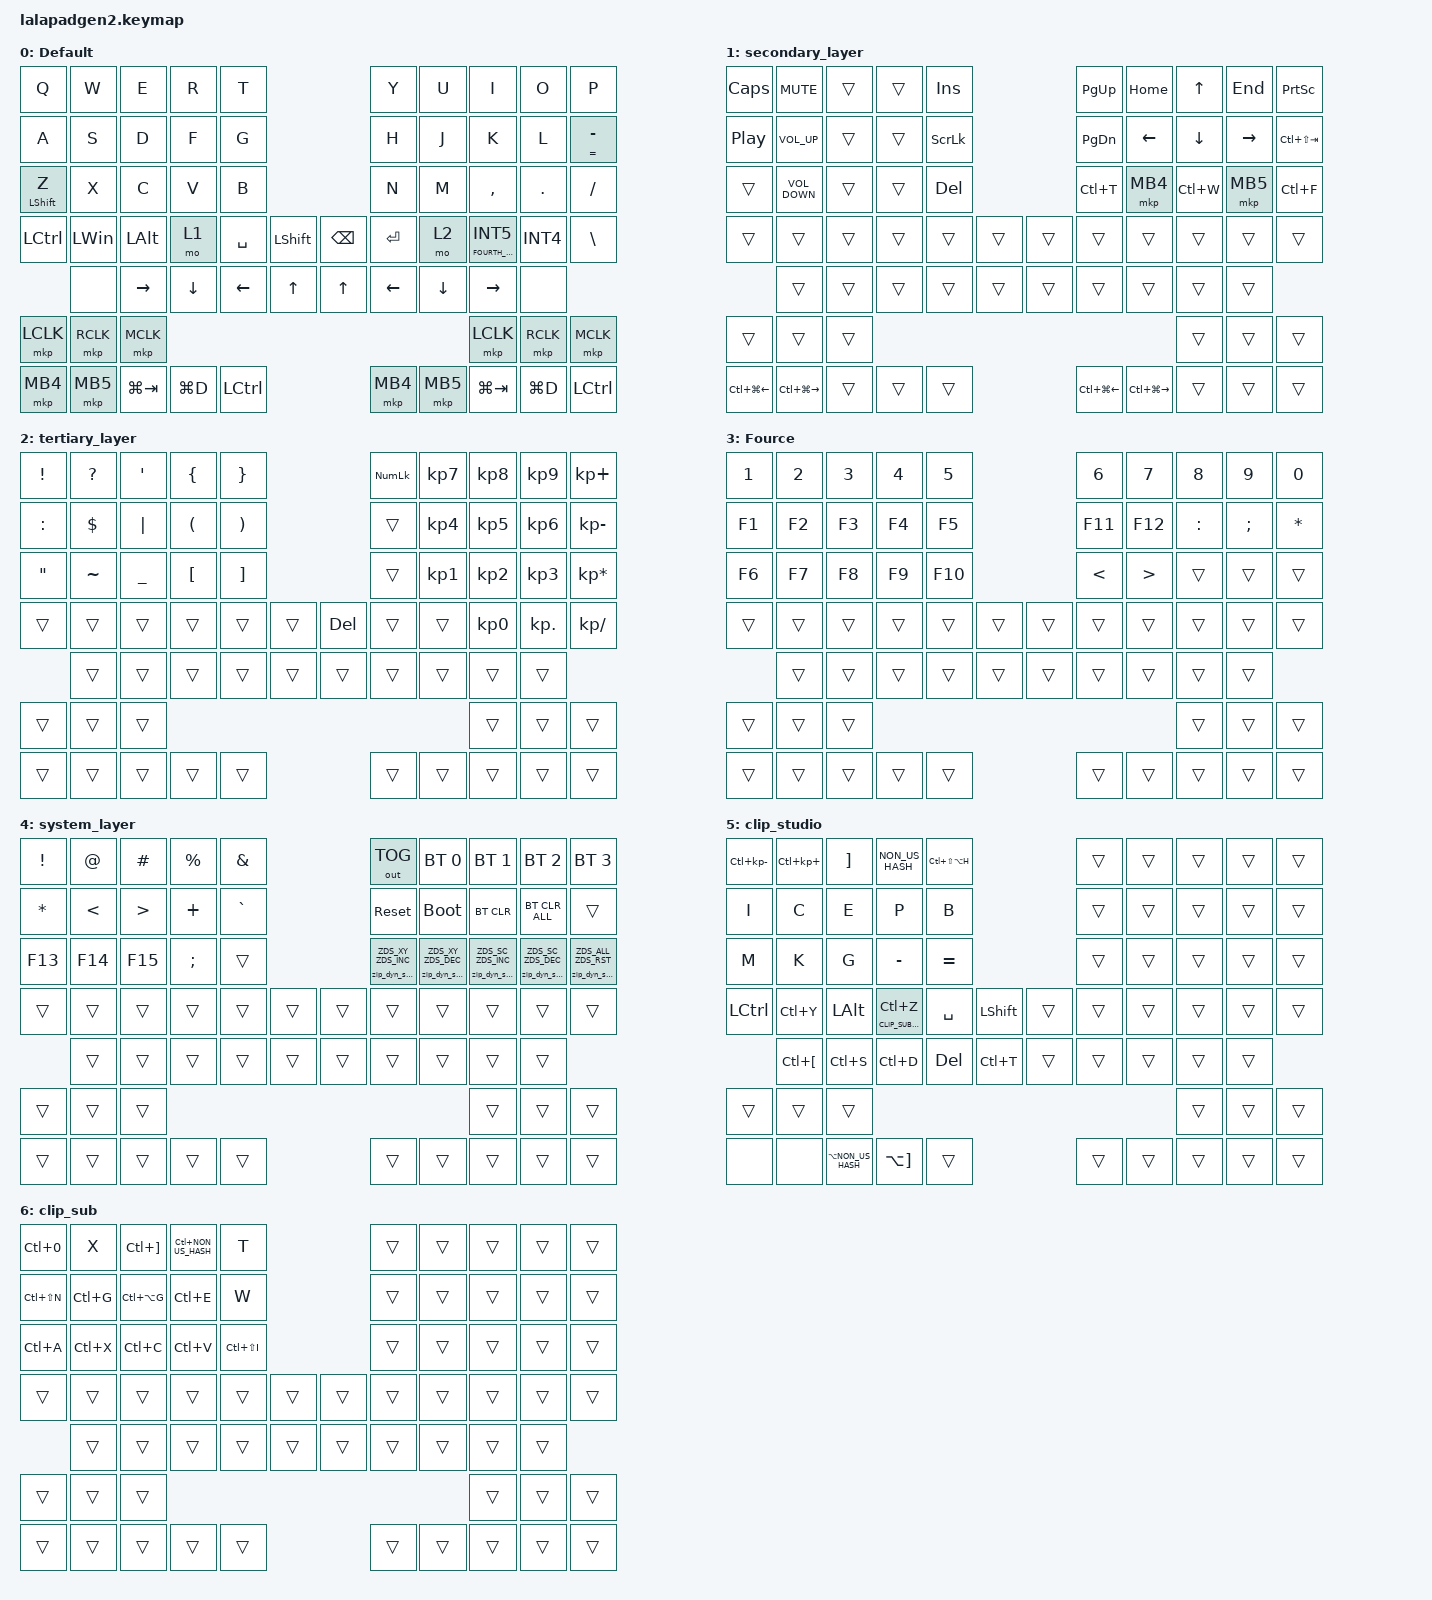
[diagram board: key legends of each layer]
#include <input/processors.dtsi>
#include <dt-bindings/zmk/zip_dynamic_scale.h>
#include <behaviors.dtsi>
#include <dt-bindings/zmk/bt.h>
#include <dt-bindings/zmk/keys.h>
#include <dt-bindings/zmk/outputs.h>
#include <dt-bindings/zmk/pointing.h>

#define DEFAULT_LAYER   0
#define SECONDARY_LAYER 1
#define TERTIARY_LAYER  2
#define FOURTH_LAYER    3
#define SYSTEM_LAYER    4
#define CLIP_LAYER      5
#define CLIP_SUB_LAYER  6

&mt { quick-tap-ms = <200>; };

&lt { quick-tap-ms = <200>; };

/ {
    behaviors {
        zip_dyn_scale: zip_dyn_scale {
            compatible = "zmk,behavior-zip-dynamic-scale";
            #binding-cells = <2>;
        };

        zip_dyn_scale_set: zip_dyn_scale_set {
            compatible = "zmk,behavior-zip-dynamic-scale-set";
            #binding-cells = <2>;
        };

        mt2: mod_tap2 {
            compatible = "zmk,behavior-hold-tap";
            #binding-cells = <2>;
            flavor = "tap-preferred";
            tapping-term-ms = <200>;
            quick-tap-ms = <200>;
            require-prior-idle-ms = <125>;
            bindings = <&kp>, <&kp>;
        };

        /* クリスタモード切替: IMEオフ(INT5=無変換)を送ってからレイヤーをトグル。
           IMEオンのままだとクリスタの1文字ショートカット(P/E/[ など)が反応しないため */
        csp_toggle: csp_toggle {
            compatible = "zmk,behavior-macro";
            #binding-cells = <0>;
            wait-ms = <10>;
            tap-ms = <20>;
            bindings = <&macro_tap &kp INT5 &tog CLIP_LAYER>;
        };

        /* クリスタモードのサブレイヤー: 押し続けるとCLIP_SUB、タップで取り消し(Ctrl+Z)。
           親指を押したまま素早く次のキーを押しても切り替わるよう balanced にしている */
        csp_lt: csp_layer_tap {
            compatible = "zmk,behavior-hold-tap";
            #binding-cells = <2>;
            flavor = "balanced";
            tapping-term-ms = <200>;
            quick-tap-ms = <200>;
            bindings = <&mo>, <&kp>;
        };

        tap_dance_layer_1and2: tap_dance_layer_1and2 {
            compatible = "zmk,behavior-tap-dance";
            label = "td_mo12";
            #binding-cells = <0>;
            bindings = <&mo 1>, <&mo 2>;
        };
    };

    combos {
        compatible = "zmk,combos";

        CONBO_ESC {
            bindings = <&kp ESCAPE>;
            key-positions = <0 1>;
            layers = <DEFAULT_LAYER SECONDARY_LAYER TERTIARY_LAYER FOURTH_LAYER SYSTEM_LAYER>; /* クリスタモードでは無効 */
        };

        COMBO_TAB {
            bindings = <&kp TAB>;
            key-positions = <10 11>;
            layers = <DEFAULT_LAYER SECONDARY_LAYER TERTIARY_LAYER FOURTH_LAYER SYSTEM_LAYER>; /* クリスタモードでは無効 */
        };

        hankakku_zenkaku {
            bindings = <&kp LANG_ZENKAKUHANKAKU>;
            key-positions = <1 2>;
            layers = <DEFAULT_LAYER SECONDARY_LAYER TERTIARY_LAYER FOURTH_LAYER SYSTEM_LAYER>; /* クリスタモードでは無効 */
        };

        /* 左親指 Win+Alt 同時押し: クリスタモード(CLIP_LAYER)のON/OFF（同時にIMEオフ） */
        csp_mode_toggle {
            bindings = <&csp_toggle>;
            key-positions = <31 32>;
            layers = <DEFAULT_LAYER CLIP_LAYER>;
            timeout-ms = <50>;
        };
    };

    keymap {
        compatible = "zmk,keymap";

        DEFAULT_LAYER {
            display-name = "Default";
            bindings = <
&kp Q              &kp W      &kp E         &kp R      &kp T                                     &kp Y      &kp U     &kp I        &kp O       &kp P
&kp A              &kp S      &kp D         &kp F      &kp G                                     &kp H      &kp J     &kp K        &kp L       &mt2 EQUAL MINUS
&mt2 LEFT_SHIFT Z  &kp X      &kp C         &kp V      &kp B                                     &kp N      &kp M     &kp COMMA    &kp PERIOD  &kp SLASH
&kp LCTRL          &kp LWIN   &kp LEFT_ALT  &mo 1      &kp SPACE  &kp LEFT_SHIFT  &kp BACKSPACE  &kp ENTER  &mo 2     &lt FOURTH_LAYER INT5   &kp INT4    &kp BACKSLASH
                   &none      &kp RIGHT     &kp DOWN   &kp LEFT   &kp UP          &kp UP         &kp LEFT   &kp DOWN  &kp RIGHT    &none
&mkp LCLK          &mkp RCLK  &mkp MCLK                                                                               &mkp LCLK    &mkp RCLK   &mkp MCLK
&mkp MB4           &mkp MB5   &kp LG(TAB)   &kp LG(D)  &kp LCTRL                                 &mkp MB4   &mkp MB5  &kp LG(TAB)  &kp LG(D)   &kp LCTRL
            >;
        };

        SECONDARY_LAYER {
            display-name = "secondary_layer";
            bindings = <
&kp CAPSLOCK      &kp K_MUTE         &trans  &trans  &kp INSERT                      &kp PAGE_UP       &kp HOME           &kp UP_ARROW    &kp END    &kp PRINTSCREEN
&kp C_PLAY_PAUSE  &kp C_VOLUME_UP    &trans  &trans  &kp SCROLLLOCK                  &kp PAGE_DOWN     &kp LEFT_ARROW     &kp DOWN_ARROW  &kp RIGHT  &kp LC(LS(TAB))
&trans            &kp C_VOLUME_DOWN  &trans  &trans  &kp DELETE                      &kp LC(T)         &mkp MB4           &kp LC(W)       &mkp MB5   &kp LC(F)
&trans            &trans             &trans  &trans  &trans          &trans  &trans  &trans            &trans             &trans          &trans     &trans
                  &trans             &trans  &trans  &trans          &trans  &trans  &trans            &trans             &trans          &trans
&trans            &trans             &trans                                                                               &trans          &trans     &trans
&kp LC(LG(LEFT))  &kp LC(LG(RIGHT))  &trans  &trans  &trans                          &kp LC(LG(LEFT))  &kp LC(LG(RIGHT))  &trans          &trans     &trans
            >;
        };

        TERTIARY_LAYER {
            display-name = "tertiary_layer";
            bindings = <
&kp EXCLAMATION    &kp QUESTION  &kp SQT         &kp LEFT_BRACE        &kp RIGHT_BRACE                         &kp KP_NUMLOCK  &kp KP_NUMBER_7  &kp KP_NUMBER_8  &kp KP_NUMBER_9  &kp KP_PLUS
&kp COLON          &kp DOLLAR    &kp PIPE        &kp LEFT_PARENTHESIS  &kp RIGHT_PARENTHESIS                   &trans          &kp KP_NUMBER_4  &kp KP_NUMBER_5  &kp KP_NUMBER_6  &kp KP_MINUS
&kp DOUBLE_QUOTES  &kp TILDE     &kp UNDERSCORE  &kp LEFT_BRACKET      &kp RIGHT_BRACKET                       &trans          &kp KP_NUMBER_1  &kp KP_NUMBER_2  &kp KP_NUMBER_3  &kp KP_ASTERISK
&trans             &trans        &trans          &trans                &trans                 &trans  &kp DEL  &trans          &trans           &kp KP_NUMBER_0  &kp KP_DOT       &kp KP_DIVIDE
                   &trans        &trans          &trans                &trans                 &trans  &trans   &trans          &trans           &trans           &trans
&trans             &trans        &trans                                                                                                         &trans           &trans           &trans
&trans             &trans        &trans          &trans                &trans                                  &trans          &trans           &trans           &trans           &trans
            >;
        };

        Fource {
            bindings = <
&kp NUMBER_1  &kp NUMBER_2  &kp NUMBER_3  &kp NUMBER_4  &kp NUMBER_5                  &kp NUMBER_6   &kp NUMBER_7      &kp NUMBER_8  &kp NUMBER_9   &kp NUMBER_0
&kp F1        &kp F2        &kp F3        &kp F4        &kp F5                        &kp F11        &kp F12           &kp COLON     &kp SEMICOLON  &kp ASTERISK
&kp F6        &kp F7        &kp F8        &kp F9        &kp F10                       &kp LESS_THAN  &kp GREATER_THAN  &trans        &trans         &trans
&trans        &trans        &trans        &trans        &trans        &trans  &trans  &trans         &trans            &trans        &trans         &trans
              &trans        &trans        &trans        &trans        &trans  &trans  &trans         &trans            &trans        &trans
&trans        &trans        &trans                                                                                     &trans        &trans         &trans
&trans        &trans        &trans        &trans        &trans                        &trans         &trans            &trans        &trans         &trans
            >;
        };

        SYSTEM_LAYER {
            display-name = "system_layer";
            bindings = <
&kp EXCLAMATION  &kp AT_SIGN    &kp HASH          &kp PERCENT  &kp AMPERSAND                  &out OUT_TOG                   &bt BT_SEL 0                   &bt BT_SEL 1                   &bt BT_SEL 2                   &bt BT_SEL 3
&kp ASTERISK     &kp LESS_THAN  &kp GREATER_THAN  &kp PLUS     &kp GRAVE                      &sys_reset                     &bootloader                    &bt BT_CLR                     &bt BT_CLR_ALL                 &trans
&kp F13          &kp F14        &kp F15           &kp SEMI     &trans                         &zip_dyn_scale ZDS_XY ZDS_INC  &zip_dyn_scale ZDS_XY ZDS_DEC  &zip_dyn_scale ZDS_SC ZDS_INC  &zip_dyn_scale ZDS_SC ZDS_DEC  &zip_dyn_scale ZDS_ALL ZDS_RST
&trans           &trans         &trans            &trans       &trans         &trans  &trans  &trans                         &trans                         &trans                         &trans                         &trans
                 &trans         &trans            &trans       &trans         &trans  &trans  &trans                         &trans                         &trans                         &trans
&trans           &trans         &trans                                                                                                                      &trans                         &trans                         &trans
&trans           &trans         &trans            &trans       &trans                         &trans                         &trans                         &trans                         &trans                         &trans
            >;
        };

        CLIP_LAYER {
            display-name = "clip_studio";
            /* クリスタモード（WindowsのJIS配列前提）
               - よく使う操作ほど押しやすい位置（親指・ホーム段の人差し指/中指）に配置
               - 左右反転(Ctrl+Shift+Alt+H)はクリスタ側でショートカット登録が必要
               - JIS配列では RIGHT_BRACKET=「[」 NON_US_HASH=「]」 LEFT_BRACKET=「@」 EQUAL=「^」 になる
               - 取り消しの親指: タップ=取り消し / 長押し=サブレイヤー(CLIP_SUB_LAYER)
               - キャンバス回転は下段右2つ（左回転 - / 右回転 ^）
               - 左トラックパッドの3本指スワイプ: 上下=選択レイヤーを上下に切替（左右は誤操作防止で無効） */
            bindings = <
&kp LC(KP_MINUS)  &kp LC(KP_PLUS)              &kp RIGHT_BRACKET  &kp NON_US_HASH  &kp LC(LS(LA(H)))                       &trans  &trans  &trans  &trans  &trans
&kp I             &kp C                        &kp E              &kp P            &kp B                                   &trans  &trans  &trans  &trans  &trans
&kp M             &kp K                        &kp G              &kp MINUS        &kp EQUAL                               &trans  &trans  &trans  &trans  &trans
&kp LCTRL         &kp LC(Y)                    &kp LEFT_ALT       &csp_lt CLIP_SUB_LAYER LC(Z)  &kp SPACE          &kp LEFT_SHIFT  &trans  &trans  &trans  &trans  &trans  &trans
                  &kp LC(LEFT_BRACKET)          &kp LC(S)          &kp LC(D)        &kp DELETE         &kp LC(T)       &trans  &trans  &trans  &trans  &trans
&trans            &trans                       &trans                                                                                          &trans  &trans  &trans
&none             &none                        &kp LA(NON_US_HASH) &kp LA(RIGHT_BRACKET) &trans                        &trans  &trans  &trans  &trans  &trans
            >;
        };

        CLIP_SUB_LAYER {
            display-name = "clip_sub";
            /* クリスタモードで取り消しの親指を押している間だけ有効。
               使用頻度は中〜低だが左手デバイスの設定例でよく入っている操作を集約 */
            bindings = <
&kp LC(N0)        &kp X           &kp LC(RIGHT_BRACKET)  &kp LC(NON_US_HASH)  &kp T                          &trans  &trans  &trans  &trans  &trans
&kp LC(LS(N))     &kp LC(G)       &kp LC(LA(G))          &kp LC(E)            &kp W                          &trans  &trans  &trans  &trans  &trans
&kp LC(A)         &kp LC(X)       &kp LC(C)              &kp LC(V)            &kp LC(LS(I))                  &trans  &trans  &trans  &trans  &trans
&trans            &trans          &trans                 &trans               &trans         &trans  &trans  &trans  &trans  &trans  &trans  &trans
                  &trans          &trans                 &trans               &trans         &trans  &trans  &trans  &trans  &trans  &trans
&trans            &trans          &trans                                                                                     &trans  &trans  &trans
&trans            &trans          &trans                 &trans               &trans                         &trans  &trans  &trans  &trans  &trans
            >;
        };
    };

    conditional_layers {
        compatible = "zmk,conditional-layers";

        Cond_Syslayer {
            if-layers = <SECONDARY_LAYER TERTIARY_LAYER>;
            then-layer = <SYSTEM_LAYER>;
        };
    };
};
